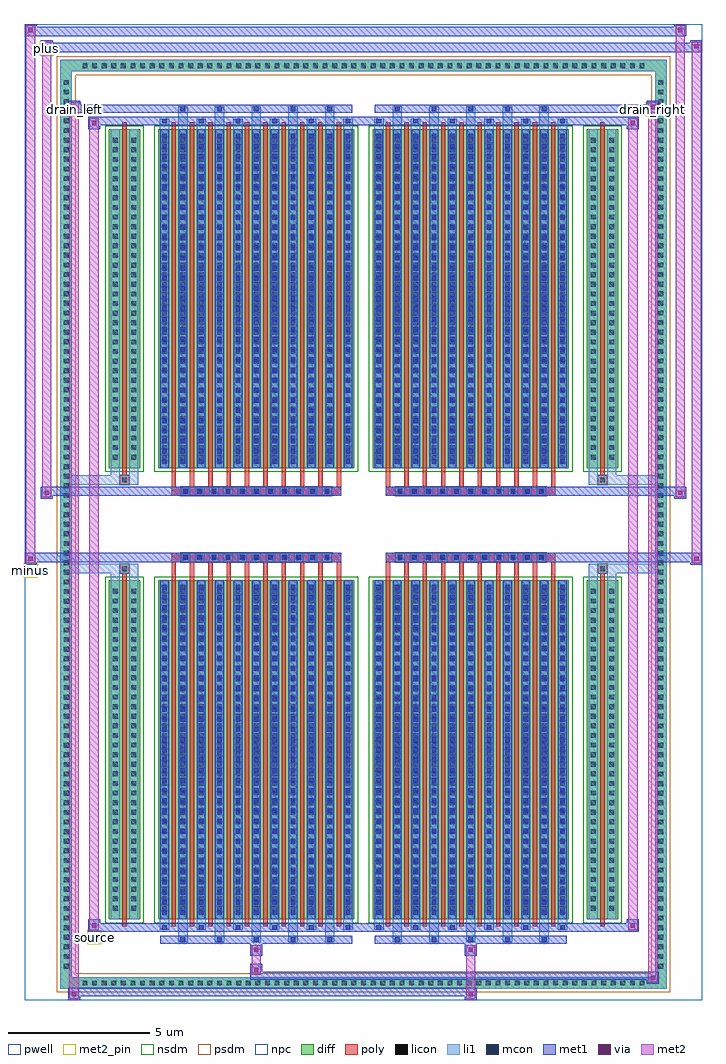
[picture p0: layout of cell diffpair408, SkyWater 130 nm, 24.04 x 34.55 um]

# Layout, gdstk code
import gdstk
lib = gdstk.Library(unit=1e-6, precision=5e-09)
def R(c, l, rs):  # rectangles x0, y0, x1, y1
    for r in rs: c.add(gdstk.rectangle(r[:2], r[2:], *l))
def A(c, l, x, y, w, h, nx, ny, dx, dy):  # array of equal rectangles
    R(c, l, [(x+i*dx, y+j*dy, x+i*dx+w, y+j*dy+h) for i in range(nx) for j in range(ny)])
def P(c, l, *ps):  # polygons
    for p in ps: c.add(gdstk.Polygon(p, *l))
pwell = (64, 44)
diff = (65, 20)
poly = (66, 20)
licon = (66, 44)
li1 = (67, 20)
mcon = (67, 44)
met1 = (68, 20)
via = (68, 44)
met2_pin = (69, 16)
met2 = (69, 20)
nsdm = (93, 44)
psdm = (94, 20)
npc = (95, 20)

diffpair408 = lib.new_cell('diffpair408')
R(diffpair408, pwell, [(-12,-16.84,12,17.71), (-9.32,-15.03,-0.01,-0.805), (0.01,-15.03,9.32,-0.805), (-9.32,0.805,-0.01,15.03), (0.01,0.805,9.32,15.03)])
A(diffpair408, diff, -10.065, -16.44, 0.41, 0.41, 59, 2, 0.34, 32.47)
A(diffpair408, diff, -10.73, -15.845, 0.41, 0.41, 1, 93, 0, 0.34)
A(diffpair408, diff, 10.32, -15.845, 0.41, 0.41, 1, 93, 0, 0.34)
R(diffpair408, diff, [(-10.065,-16.44,10.065,-16.03), (-10.73,-15.845,-10.32,15.845), (10.32,-15.845,10.73,15.845), (-9.01,-13.985,-7.91,-1.985), (-7.27,-13.985,-0.32,-1.985), (0.32,-13.985,7.27,-1.985), (7.91,-13.985,9.01,-1.985), (-9.01,1.985,-7.91,13.985), (-7.27,1.985,-0.32,13.985), (0.32,1.985,7.27,13.985), (7.91,1.985,9.01,13.985), (-10.065,16.03,10.065,16.44)])
P(diffpair408, diff, [(10.73,16.44),(-10.73,16.44),(-10.73,-16.03),(-10.32,-16.03),(-10.32,16.03),(10.32,16.03),(10.32,-16.03),(-10.32,-16.03),(-10.73,-16.03),(-10.73,-16.44),(10.73,-16.44)])
A(diffpair408, poly, -6.795, -14.235, 0.15, 12.5, 10, 2, 0.65, 15.97)
A(diffpair408, poly, 0.795, -14.235, 0.15, 12.5, 10, 2, 0.65, 15.97)
A(diffpair408, poly, -6.795, -1.735, 0.15, 0.4, 10, 2, 0.65, 3.07)
A(diffpair408, poly, 0.795, -1.735, 0.15, 0.4, 10, 2, 0.65, 3.07)
A(diffpair408, poly, -6.46, -1.335, 0.33, 0.33, 11, 2, 0.5, 2.34)
A(diffpair408, poly, 1.13, -1.335, 0.33, 0.33, 11, 2, 0.5, 2.34)
R(diffpair408, poly, [(-8.535,-14.235,-8.385,-1.735), (8.385,-14.235,8.535,-1.735), (-8.625,-1.735,-8.295,-1.405), (-8.625,-1.735,-8.295,-1.405), (8.295,-1.735,8.625,-1.405), (8.295,-1.735,8.625,-1.405), (-6.795,-1.335,-0.795,-1.005), (0.795,-1.335,6.795,-1.005), (-6.795,1.005,-0.795,1.335), (0.795,1.005,6.795,1.335), (-8.625,1.405,-8.295,1.735), (-8.625,1.405,-8.295,1.735), (8.295,1.405,8.625,1.735), (8.295,1.405,8.625,1.735), (-8.535,1.735,-8.385,14.235), (8.385,1.735,8.535,14.235)])
A(diffpair408, licon, -9.945, -16.32, 0.17, 0.17, 59, 2, 0.34, 32.47)
A(diffpair408, licon, -10.61, -15.725, 0.17, 0.17, 1, 93, 0, 0.34)
A(diffpair408, licon, 10.44, -15.725, 0.17, 0.17, 1, 93, 0, 0.34)
A(diffpair408, licon, -8.87, -13.68, 0.17, 0.17, 1, 34, 0, 0.34)
A(diffpair408, licon, -8.22, -13.68, 0.17, 0.17, 1, 34, 0, 0.34)
A(diffpair408, licon, -7.13, -13.68, 0.17, 0.17, 11, 34, 0.65, 0.34)
A(diffpair408, licon, 0.46, -13.68, 0.17, 0.17, 11, 34, 0.65, 0.34)
A(diffpair408, licon, 8.05, -13.68, 0.17, 0.17, 1, 34, 0, 0.34)
A(diffpair408, licon, 8.7, -13.68, 0.17, 0.17, 1, 34, 0, 0.34)
A(diffpair408, licon, -6.38, -1.255, 0.17, 0.17, 11, 2, 0.5, 2.34)
A(diffpair408, licon, 1.21, -1.255, 0.17, 0.17, 11, 2, 0.5, 2.34)
A(diffpair408, licon, -8.87, 2.29, 0.17, 0.17, 1, 34, 0, 0.34)
A(diffpair408, licon, -8.22, 2.29, 0.17, 0.17, 1, 34, 0, 0.34)
A(diffpair408, licon, -7.13, 2.29, 0.17, 0.17, 11, 34, 0.65, 0.34)
A(diffpair408, licon, 0.46, 2.29, 0.17, 0.17, 11, 34, 0.65, 0.34)
A(diffpair408, licon, 8.05, 2.29, 0.17, 0.17, 1, 34, 0, 0.34)
A(diffpair408, licon, 8.7, 2.29, 0.17, 0.17, 1, 34, 0, 0.34)
R(diffpair408, licon, [(-8.545,-1.655,-8.375,-1.485), (8.375,-1.655,8.545,-1.485), (-8.545,1.485,-8.375,1.655), (8.375,1.485,8.545,1.655)])
A(diffpair408, li1, -10.025, -16.4, 0.33, 0.33, 59, 2, 0.34, 32.47)
A(diffpair408, li1, -10.69, -15.805, 0.33, 0.33, 1, 93, 0, 0.34)
A(diffpair408, li1, 10.36, -15.805, 0.33, 0.33, 1, 93, 0, 0.34)
A(diffpair408, li1, -6.56, -14.79, 0.33, 0.805, 5, 2, 1.3, 28.775)
A(diffpair408, li1, -6.48, -14.79, 0.17, 0.17, 5, 2, 1.3, 29.41)
A(diffpair408, li1, 1.03, -14.79, 0.33, 0.805, 5, 2, 1.3, 28.775)
A(diffpair408, li1, 1.11, -14.79, 0.17, 0.17, 5, 2, 1.3, 29.41)
A(diffpair408, li1, -7.21, -14.36, 0.33, 0.375, 6, 2, 1.3, 28.345)
A(diffpair408, li1, -7.13, -14.36, 0.17, 0.17, 6, 2, 1.3, 28.55)
A(diffpair408, li1, 0.38, -14.36, 0.33, 0.375, 6, 2, 1.3, 28.345)
A(diffpair408, li1, 0.46, -14.36, 0.17, 0.17, 6, 2, 1.3, 28.55)
A(diffpair408, li1, -7.21, -13.985, 0.33, 12, 11, 2, 0.65, 15.97)
A(diffpair408, li1, 0.38, -13.985, 0.33, 12, 11, 2, 0.65, 15.97)
A(diffpair408, li1, -7.13, -13.83, 0.17, 0.17, 11, 33, 0.65, 0.36)
A(diffpair408, li1, -7.13, -13.83, 0.17, 11.69, 11, 2, 0.65, 15.97)
A(diffpair408, li1, 0.46, -13.83, 0.17, 0.17, 11, 33, 0.65, 0.36)
A(diffpair408, li1, 0.46, -13.83, 0.17, 11.69, 11, 2, 0.65, 15.97)
A(diffpair408, li1, -8.95, -13.76, 0.33, 0.33, 1, 34, 0, 0.34)
A(diffpair408, li1, -8.3, -13.76, 0.33, 0.33, 1, 34, 0, 0.34)
A(diffpair408, li1, -7.21, -13.76, 0.33, 0.33, 11, 34, 0.65, 0.34)
A(diffpair408, li1, 0.38, -13.76, 0.33, 0.33, 11, 34, 0.65, 0.34)
A(diffpair408, li1, 7.97, -13.76, 0.33, 0.33, 1, 34, 0, 0.34)
A(diffpair408, li1, 8.62, -13.76, 0.33, 0.33, 1, 34, 0, 0.34)
A(diffpair408, li1, -6.46, -1.335, 0.33, 0.33, 11, 2, 0.5, 2.34)
A(diffpair408, li1, 1.13, -1.335, 0.33, 0.33, 11, 2, 0.5, 2.34)
A(diffpair408, li1, -7.13, 2.14, 0.17, 0.17, 11, 33, 0.65, 0.36)
A(diffpair408, li1, 0.46, 2.14, 0.17, 0.17, 11, 33, 0.65, 0.36)
A(diffpair408, li1, -8.95, 2.21, 0.33, 0.33, 1, 34, 0, 0.34)
A(diffpair408, li1, -8.3, 2.21, 0.33, 0.33, 1, 34, 0, 0.34)
A(diffpair408, li1, -7.21, 2.21, 0.33, 0.33, 11, 34, 0.65, 0.34)
A(diffpair408, li1, 0.38, 2.21, 0.33, 0.33, 11, 34, 0.65, 0.34)
A(diffpair408, li1, 7.97, 2.21, 0.33, 0.33, 1, 34, 0, 0.34)
A(diffpair408, li1, 8.62, 2.21, 0.33, 0.33, 1, 34, 0, 0.34)
R(diffpair408, li1, [(-10.73,-16.44,-10.32,-16.03), (-10.73,-16.44,-10.32,-16.03), (-10.32,-16.44,10.32,-16.03), (10.32,-16.44,10.73,-16.03), (10.32,-16.44,10.73,-16.03), (-10.73,-16.03,-10.32,16.03), (10.32,-16.03,10.73,16.03), (-8.95,-13.985,-8.62,-1.985), (-8.3,-13.985,-7.97,-1.985), (7.97,-13.985,8.3,-1.985), (8.62,-13.985,8.95,-1.985), (-8.95,-1.985,-8.62,-1.405), (-8.3,-1.985,-7.97,-1.405), (7.97,-1.985,8.3,-1.405), (8.62,-1.985,8.95,-1.405), (-10.73,-1.735,-8.625,-1.405), (-8.95,-1.735,-8.625,-1.405), (-8.625,-1.735,-8.295,-1.405), (-8.295,-1.735,-7.97,-1.405), (7.97,-1.735,8.295,-1.405), (8.295,-1.735,8.625,-1.405), (8.295,-1.735,10.73,-1.405), (8.625,-1.735,8.95,-1.405), (-10.73,1.405,-8.625,1.735), (-8.95,1.405,-8.625,1.735), (-8.95,1.405,-8.62,1.985), (-8.625,1.405,-8.295,1.735), (-8.3,1.405,-7.97,1.985), (-8.295,1.405,-7.97,1.735), (7.97,1.405,8.295,1.735), (7.97,1.405,8.3,1.985), (8.295,1.405,8.625,1.735), (8.295,1.405,10.73,1.735), (8.62,1.405,8.95,1.985), (8.625,1.405,8.95,1.735), (-8.95,1.985,-8.62,13.985), (-8.3,1.985,-7.97,13.985), (7.97,1.985,8.3,13.985), (8.62,1.985,8.95,13.985), (-10.73,16.03,-10.32,16.44), (-10.73,16.03,-10.32,16.44), (-10.32,16.03,10.32,16.44), (10.32,16.03,10.73,16.44), (10.32,16.03,10.73,16.44)])
A(diffpair408, mcon, -6.48, -14.79, 0.17, 0.17, 5, 2, 1.3, 29.41)
A(diffpair408, mcon, 1.11, -14.79, 0.17, 0.17, 5, 2, 1.3, 29.41)
A(diffpair408, mcon, -7.13, -14.36, 0.17, 0.17, 6, 2, 1.3, 28.55)
A(diffpair408, mcon, 0.46, -14.36, 0.17, 0.17, 6, 2, 1.3, 28.55)
A(diffpair408, mcon, -7.13, -13.83, 0.17, 0.17, 11, 33, 0.65, 0.36)
A(diffpair408, mcon, 0.46, -13.83, 0.17, 0.17, 11, 33, 0.65, 0.36)
A(diffpair408, mcon, -6.38, -1.255, 0.17, 0.17, 11, 2, 0.5, 2.34)
A(diffpair408, mcon, 1.21, -1.255, 0.17, 0.17, 11, 2, 0.5, 2.34)
A(diffpair408, mcon, -7.13, 2.14, 0.17, 0.17, 11, 33, 0.65, 0.36)
A(diffpair408, mcon, 0.46, 2.14, 0.17, 0.17, 11, 33, 0.65, 0.36)
A(diffpair408, met1, -6.54, -14.85, 0.29, 0.29, 5, 2, 1.3, 29.41)
A(diffpair408, met1, 1.05, -14.85, 0.29, 0.29, 5, 2, 1.3, 29.41)
A(diffpair408, met1, -7.19, -14.42, 0.29, 0.29, 6, 2, 1.3, 28.55)
A(diffpair408, met1, 0.4, -14.42, 0.29, 0.29, 6, 2, 1.3, 28.55)
A(diffpair408, met1, -7.19, -13.985, 0.29, 12, 11, 2, 0.65, 15.97)
A(diffpair408, met1, 0.4, -13.985, 0.29, 12, 11, 2, 0.65, 15.97)
A(diffpair408, met1, -7.19, -13.89, 0.29, 0.29, 11, 33, 0.65, 0.36)
A(diffpair408, met1, 0.4, -13.89, 0.29, 0.29, 11, 33, 0.65, 0.36)
A(diffpair408, met1, -6.44, -1.315, 0.29, 0.29, 11, 2, 0.5, 2.34)
A(diffpair408, met1, 1.15, -1.315, 0.29, 0.29, 11, 2, 0.5, 2.34)
A(diffpair408, met1, -7.19, 2.08, 0.29, 0.29, 11, 33, 0.65, 0.36)
A(diffpair408, met1, 0.4, 2.08, 0.29, 0.29, 11, 33, 0.65, 0.36)
R(diffpair408, met1, [(-10.46,-16.84,-10.03,-16.41), (3.58,-16.84,4.01,-16.41), (-10.46,-16.7,4.01,-16.41), (10.03,-16.27,10.46,-15.84), (-4.01,-16.13,10.46,-15.84), (-4.01,-15.99,-3.58,-15.56), (-4.01,-15.28,-3.58,-14.85), (3.58,-15.28,4.01,-14.85), (-7.19,-14.85,-0.4,-14.56), (0.4,-14.85,7.19,-14.56), (-9.75,-14.42,-9.32,-13.99), (-9.75,-14.42,-7.19,-14.13), (-7.19,-14.42,-0.4,-14.13), (-0.4,-14.42,0.4,-14.13), (0.4,-14.42,7.19,-14.13), (7.19,-14.42,9.75,-14.13), (9.32,-14.42,9.75,-13.99), (-12,-1.435,-11.57,-1.005), (11.57,-1.435,12,-1.005), (-12,-1.335,-0.795,-1.005), (-6.795,-1.335,-0.795,-1.005), (0.795,-1.335,6.795,-1.005), (0.795,-1.335,12,-1.005), (-11.43,0.905,-11,1.335), (11,0.905,11.43,1.335), (-11.43,1.005,-6.795,1.335), (-6.795,1.005,-0.795,1.335), (0.795,1.005,6.795,1.335), (6.795,1.005,11.43,1.335), (-9.75,13.99,-9.32,14.42), (9.32,13.99,9.75,14.42), (-9.75,14.13,-7.19,14.42), (-7.19,14.13,-0.4,14.42), (-0.4,14.13,0.4,14.42), (0.4,14.13,7.19,14.42), (7.19,14.13,9.75,14.42), (-10.46,14.56,-10.03,14.99), (-10.46,14.56,-7.19,14.85), (-7.19,14.56,-0.4,14.85), (0.4,14.56,7.19,14.85), (7.19,14.56,10.46,14.85), (10.03,14.56,10.46,14.99), (-11.43,16.71,-11,17.14), (-11.43,16.71,-9.32,17.04), (-9.32,16.71,9.32,17.04), (9.32,16.71,12,17.04), (11.57,16.71,12,17.14), (-12,17.28,-11.57,17.71), (-12,17.28,-9.32,17.61), (-9.32,17.28,9.32,17.61), (9.32,17.28,11.43,17.61), (11,17.28,11.43,17.71)])
R(diffpair408, via, [(-10.32,-16.7,-10.17,-16.55), (3.72,-16.7,3.87,-16.55), (10.17,-16.13,10.32,-15.98), (-3.87,-15.85,-3.72,-15.7), (-3.87,-15.14,-3.72,-14.99), (3.72,-15.14,3.87,-14.99), (-9.61,-14.28,-9.46,-14.13), (9.46,-14.28,9.61,-14.13), (-11.86,-1.295,-11.71,-1.145), (11.71,-1.295,11.86,-1.145), (-11.29,1.045,-11.14,1.195), (11.14,1.045,11.29,1.195), (-9.61,14.13,-9.46,14.28), (9.46,14.13,9.61,14.28), (-10.32,14.7,-10.17,14.85), (10.17,14.7,10.32,14.85), (-11.29,16.85,-11.14,17), (11.71,16.85,11.86,17), (-11.86,17.42,-11.71,17.57), (11.14,17.42,11.29,17.57)])
R(diffpair408, met2_pin, [(-9.785,-14.87,-9.285,-14.37), (-12.035,-1.885,-11.535,-1.385), (-10.495,14.44,-9.995,14.94), (9.995,14.44,10.495,14.94), (-11.465,16.59,-10.965,17.09)])
R(diffpair408, met2, [(-10.41,-16.79,-10.08,-16.46), (-10.41,-16.79,-10.08,14.94), (3.63,-16.79,3.96,-16.46), (3.63,-16.46,3.96,-15.23), (10.08,-16.22,10.41,-15.89), (10.08,-16.22,10.41,14.94), (-3.96,-15.94,-3.63,-15.61), (-3.96,-15.61,-3.63,-15.23), (-3.96,-15.23,-3.63,-14.9), (3.63,-15.23,3.96,-14.9), (-9.7,-14.37,-9.37,-14.04), (-9.7,-14.37,-9.37,14.37), (9.37,-14.37,9.7,-14.04), (9.37,-14.37,9.7,14.37), (-11.95,-1.385,-11.62,-1.055), (-11.95,-1.385,-11.62,17.66), (11.62,-1.385,11.95,-1.055), (11.62,-1.385,11.95,17.09), (-11.38,0.955,-11.05,1.285), (-11.38,0.955,-11.05,17.09), (11.05,0.955,11.38,1.285), (11.05,0.955,11.38,17.66), (-9.7,14.04,-9.37,14.37), (9.37,14.04,9.7,14.37), (-10.41,14.61,-10.08,14.94), (10.08,14.61,10.41,14.94), (-11.38,16.76,-11.05,17.09), (11.62,16.76,11.95,17.09), (-11.95,17.33,-11.62,17.66), (11.05,17.33,11.38,17.66)])
P(diffpair408, met2, [(11.95,-1.385),(11.95,-1.385),(11.95,-1.055),(11.95,-1.055)],
  [(11.95,16.76),(11.95,16.76),(11.95,17.09),(11.95,17.09)],
  [(-11.62,-1.385),(-11.62,-1.385),(-11.62,-1.055),(-11.62,-1.055)],
  [(-11.62,17.33),(-11.62,17.33),(-11.62,17.66),(-11.62,17.66)],
  [(11.38,0.955),(11.38,0.955),(11.38,1.285),(11.38,1.285)],
  [(11.38,17.33),(11.38,17.33),(11.38,17.66),(11.38,17.66)],
  [(-11.05,0.955),(-11.05,0.955),(-11.05,1.285),(-11.05,1.285)],
  [(-11.05,16.76),(-11.05,16.76),(-11.05,17.09),(-11.05,17.09)],
  [(-10.08,-16.79),(-10.08,-16.79),(-10.08,-16.46),(-10.08,-16.46)],
  [(-10.08,14.61),(-10.08,14.61),(-10.08,14.94),(-10.08,14.94)],
  [(10.41,-16.22),(10.41,-16.22),(10.41,-15.89),(10.41,-15.89)],
  [(10.41,14.61),(10.41,14.61),(10.41,14.94),(10.41,14.94)],
  [(-9.37,-14.37),(-9.37,-14.37),(-9.37,-14.04),(-9.37,-14.04)],
  [(-9.37,14.04),(-9.37,14.04),(-9.37,14.37),(-9.37,14.37)],
  [(9.7,-14.37),(9.7,-14.37),(9.7,-14.04),(9.7,-14.04)],
  [(9.7,14.04),(9.7,14.04),(9.7,14.37),(9.7,14.37)])
R(diffpair408, nsdm, [(-9.14,-14.115,-7.78,-1.855), (-7.4,-14.115,-0.19,-1.855), (0.19,-14.115,7.4,-1.855), (7.78,-14.115,9.14,-1.855), (-9.14,1.855,-7.78,14.115), (-7.4,1.855,-0.19,14.115), (0.19,1.855,7.4,14.115), (7.78,1.855,9.14,14.115)])
P(diffpair408, psdm, [(10.86,16.57),(-10.86,16.57),(-10.86,-15.9),(-10.19,-15.9),(-10.19,15.9),(10.19,15.9),(10.19,-15.9),(-10.19,-15.9),(-10.86,-15.9),(-10.86,-16.57),(10.86,-16.57)])
A(diffpair408, npc, -6.48, -1.355, 0.37, 0.37, 11, 2, 0.5, 2.34)
A(diffpair408, npc, 1.11, -1.355, 0.37, 0.37, 11, 2, 0.5, 2.34)
R(diffpair408, npc, [(-8.645,-1.755,-8.275,-1.385), (8.275,-1.755,8.645,-1.385), (-6.48,-1.355,-5.61,-0.985), (-6.48,-1.355,-5.61,-0.985), (-5.98,-1.355,-5.11,-0.985), (-5.98,-1.355,-5.11,-0.985), (-5.48,-1.355,-4.61,-0.985), (-5.48,-1.355,-4.61,-0.985), (-4.98,-1.355,-4.11,-0.985), (-4.98,-1.355,-4.11,-0.985), (-4.48,-1.355,-3.61,-0.985), (-4.48,-1.355,-3.61,-0.985), (-3.98,-1.355,-3.11,-0.985), (-3.98,-1.355,-3.11,-0.985), (-3.48,-1.355,-2.61,-0.985), (-3.48,-1.355,-2.61,-0.985), (-2.98,-1.355,-2.11,-0.985), (-2.98,-1.355,-2.11,-0.985), (-2.48,-1.355,-1.61,-0.985), (-2.48,-1.355,-1.61,-0.985), (-1.98,-1.355,-1.11,-0.985), (-1.98,-1.355,-1.11,-0.985), (1.11,-1.355,1.98,-0.985), (1.11,-1.355,1.98,-0.985), (1.61,-1.355,2.48,-0.985), (1.61,-1.355,2.48,-0.985), (2.11,-1.355,2.98,-0.985), (2.11,-1.355,2.98,-0.985), (2.61,-1.355,3.48,-0.985), (2.61,-1.355,3.48,-0.985), (3.11,-1.355,3.98,-0.985), (3.11,-1.355,3.98,-0.985), (3.61,-1.355,4.48,-0.985), (3.61,-1.355,4.48,-0.985), (4.11,-1.355,4.98,-0.985), (4.11,-1.355,4.98,-0.985), (4.61,-1.355,5.48,-0.985), (4.61,-1.355,5.48,-0.985), (5.11,-1.355,5.98,-0.985), (5.11,-1.355,5.98,-0.985), (5.61,-1.355,6.48,-0.985), (5.61,-1.355,6.48,-0.985), (-6.48,0.985,-5.61,1.355), (-6.48,0.985,-5.61,1.355), (-5.98,0.985,-5.11,1.355), (-5.98,0.985,-5.11,1.355), (-5.48,0.985,-4.61,1.355), (-5.48,0.985,-4.61,1.355), (-4.98,0.985,-4.11,1.355), (-4.98,0.985,-4.11,1.355), (-4.48,0.985,-3.61,1.355), (-4.48,0.985,-3.61,1.355), (-3.98,0.985,-3.11,1.355), (-3.98,0.985,-3.11,1.355), (-3.48,0.985,-2.61,1.355), (-3.48,0.985,-2.61,1.355), (-2.98,0.985,-2.11,1.355), (-2.98,0.985,-2.11,1.355), (-2.48,0.985,-1.61,1.355), (-2.48,0.985,-1.61,1.355), (-1.98,0.985,-1.11,1.355), (-1.98,0.985,-1.11,1.355), (1.11,0.985,1.98,1.355), (1.11,0.985,1.98,1.355), (1.61,0.985,2.48,1.355), (1.61,0.985,2.48,1.355), (2.11,0.985,2.98,1.355), (2.11,0.985,2.98,1.355), (2.61,0.985,3.48,1.355), (2.61,0.985,3.48,1.355), (3.11,0.985,3.98,1.355), (3.11,0.985,3.98,1.355), (3.61,0.985,4.48,1.355), (3.61,0.985,4.48,1.355), (4.11,0.985,4.98,1.355), (4.11,0.985,4.98,1.355), (4.61,0.985,5.48,1.355), (4.61,0.985,5.48,1.355), (5.11,0.985,5.98,1.355), (5.11,0.985,5.98,1.355), (5.61,0.985,6.48,1.355), (5.61,0.985,6.48,1.355), (-8.645,1.385,-8.275,1.755), (8.275,1.385,8.645,1.755)])
diffpair408.add(gdstk.Label('minus', (-11.785,-1.635), layer=69, texttype=5))
diffpair408.add(gdstk.Label('drain_right', (10.245,14.69), layer=69, texttype=5))
diffpair408.add(gdstk.Label('drain_left', (-10.245,14.69), layer=69, texttype=5))
diffpair408.add(gdstk.Label('source', (-9.535,-14.62), layer=69, texttype=5))
diffpair408.add(gdstk.Label('plus', (-11.215,16.84), layer=69, texttype=5))

lib.write_gds('diffpair408.gds')
